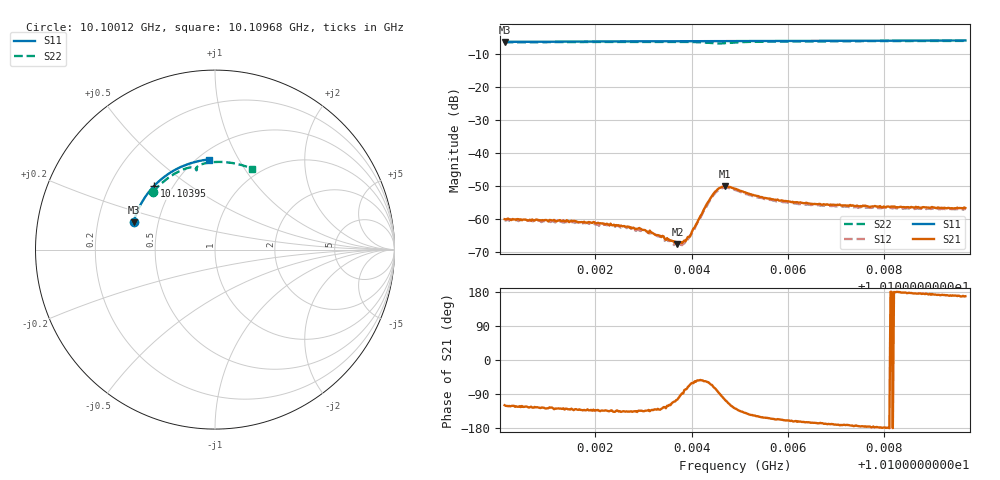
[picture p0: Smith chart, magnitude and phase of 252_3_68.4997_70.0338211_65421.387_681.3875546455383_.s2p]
#  HZ  S  RI  R  50.00
! Rohde & Schwarz Vector Network Analyzer
! Rohde-Schwarz,ZNB20-2Port,1311601062101988,3.16
! Created: UTC 3/20/2024, 4:59:54 PM
! freq[Hz]  re:S11  im:S11  re:S21  im:S21  re:S12  im:S12  re:S22  im:S22
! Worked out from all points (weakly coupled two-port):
!   401 points, 10.10012 GHz to 10.10968 GHz, reference 50 ohm
!   highest |S21| = -50.05 dB at 10.10469 GHz (marker M1); lowest = -67.6 dB at 10.10371 GHz (marker M2)
!   lowest |S11| = -6.4 dB at 10.10012 GHz (marker M3), VSWR 2.84, Z = 18 + j7.15 ohm
!   |S11| at or under -10 dB: nowhere
!   |S22| runs from -6.9 to -6.1 dB; largest |S21 - S12| = 0.00032
!   S11 on the Smith chart (normalised r, x): 10.10012 GHz: 0.36, +0.14; 10.10395 GHz: 0.39, +0.37; 10.10968 GHz: 0.56, +0.76
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1.0100123e10  -0.4538 0.1528  -0.000488 -0.000872  -0.000415 -0.00086  -0.3448 0.3218
1.0100792e10  -0.4412 0.1917  -0.000561 -0.000816  -0.000482 -0.000802  -0.3153 0.3534
1.0101724e10  -0.4184 0.2437  -0.000606 -0.000674  -0.000538 -0.000681  -0.2696 0.3929
1.0102656e10  -0.3897 0.2924  -0.000549 -0.000542  -0.000483 -0.000552  -0.2185 0.4262
1.0102918e10  -0.3803 0.3055  -0.000509 -0.000532  -0.000432 -0.000519  -0.203 0.4345
1.0103325e10  -0.3654 0.3251  -0.00037 -0.000427  -0.000331 -0.000445  -0.178 0.4459
1.0103587e10  -0.3551 0.3373  -0.000197 -0.000433  -0.000173 -0.000407  -0.1606 0.4521
1.0103707e10  -0.3504 0.3429  -0.000104 -0.000404  -6.3e-05 -0.000405  -0.1522 0.4546
1.0103755e10  -0.3485 0.3449  -4.32e-05 -0.000438  -1.38e-05 -0.000391  -0.149 0.4552
1.0103803e10  -0.3465 0.3469  1.46e-05 -0.000434  5.91e-05 -0.000399  -0.1455 0.4561
1.010385e10  -0.3446 0.3493  8.67e-05 -0.000468  6.94e-05 -0.000424  -0.142 0.457
1.0103946e10  -0.3406 0.3535  0.000201 -0.000508  0.000218 -0.000479  -0.1347 0.4581
1.0104041e10  -0.3365 0.3577  0.00035 -0.000633  0.000403 -0.000536  -0.1272 0.4585
1.0104304e10  -0.3252 0.3689  0.000898 -0.00136  0.000949 -0.0012  -0.1071 0.4542
1.0104448e10  -0.3188 0.3747  0.000814 -0.00223  0.000968 -0.00207  -0.1011 0.4468
1.0104567e10  -0.3136 0.3796  0.000156 -0.00293  0.000411 -0.00276  -0.1022 0.4423
1.0104687e10  -0.3083 0.3845  -0.000764 -0.00305  -0.000496 -0.00297  -0.1059 0.4447
1.0104902e10  -0.2984 0.3928  -0.00177 -0.00227  -0.00149 -0.00234  -0.102 0.458
1.0105547e10  -0.2674 0.4166  -0.00185 -0.000953  -0.0017 -0.00109  -0.0596 0.4798
1.0106503e10  -0.2181 0.4468  -0.00165 -0.000432  -0.00155 -0.000554  0.00419 0.4882
1.0108103e10  -0.1286 0.4837  -0.00154 -6.57e-06  -0.00147 -0.000161  0.1073 0.4807
1.010968e10  -0.0352 0.5017  -0.00144 0.000301  -0.00142 0.000149  0.2037 0.4517
